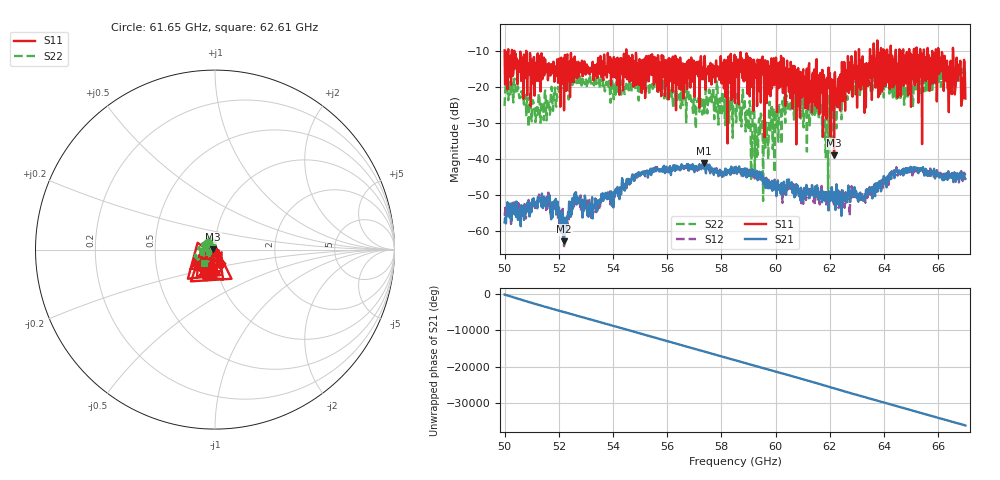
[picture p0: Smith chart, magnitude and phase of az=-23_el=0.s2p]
!Created with skrf (http://scikit-rf.org).
# GHz S RI R 50.0
!freq ReS11 ImS11 ReS21 ImS21 ReS12 ImS12 ReS22 ImS22
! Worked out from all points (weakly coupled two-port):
!   1001 points, 50 GHz to 67 GHz, reference 50 ohm
!   highest |S21| = -41.16 dB at 57.34 GHz (marker M1); lowest = -63.0 dB at 52.19 GHz (marker M2)
!   lowest |S11| = -39.1 dB at 62.16 GHz (marker M3), VSWR 1.02, Z = 48.9 + j0.226 ohm
!   |S11| at or under -10 dB: 50.8 GHz to 54.49 GHz (3.687 GHz wide, 7 % of centre); 54.49 GHz to 63.07 GHz (8.582 GHz wide, 14.6 % of centre); 66.01 GHz to 66.54 GHz (532.8 MHz wide, 0.804 % of centre) (the widest 3 of 28)
!   |S22| runs from -51.8 to -13.8 dB; largest |S21 - S12| = 0.002
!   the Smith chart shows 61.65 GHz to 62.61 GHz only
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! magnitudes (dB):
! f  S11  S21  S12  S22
! 50 GHz  -9.9  -57.7  -55.8  -25.3
! 50.34 GHz  -13.0  -54.6  -52.2  -19.6
! 51.07 GHz  -11.8  -51.0  -53.2  -24.4
! 51.58 GHz  -13.7  -52.1  -53.8  -23.6
! 52.19 GHz  -26.5  -63.0  -64.3  -19.9
! 52.57 GHz  -13.8  -50.2  -52.4  -18.8
! 52.84 GHz  -13.6  -53.4  -52.0  -19.6
! 55.68 GHz  -13.4  -43.2  -42.9  -21.9
! 57.34 GHz  -16.8  -41.2  -42.4  -23.6
! 58.5 GHz  -24.5  -43.7  -42.9  -23.8
! 58.86 GHz  -18.3  -42.9  -43.0  -24.0
! 59.32 GHz  -25.3  -43.9  -44.2  -33.3
! 60.64 GHz  -14.2  -48.6  -47.5  -22.5
! 61.34 GHz  -27.2  -47.4  -49.1  -25.4
! 62 GHz  -16.1  -51.6  -51.6  -25.1
! 62.16 GHz  -39.1  -52.0  -52.8  -28.5
! 63.12 GHz  -12.5  -49.4  -49.7  -20.2
! 63.36 GHz  -19.1  -48.4  -49.0  -18.9
! 63.69 GHz  -20.2  -46.9  -48.2  -16.5
! 64.18 GHz  -18.8  -44.5  -44.9  -18.6
! 66.08 GHz  -15.8  -45.0  -43.9  -15.7
! 67 GHz  -23.3  -45.6  -44.5  -16.0
